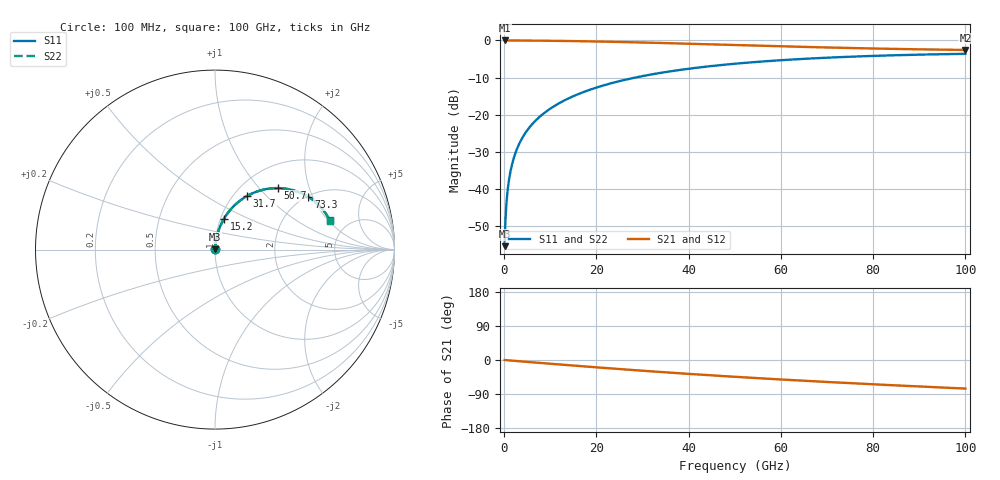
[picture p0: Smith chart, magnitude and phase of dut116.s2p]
! Touchstone file exported from HFSS 2026.1.0
!  File:  C:/ffzhzh/LocalFiles/Ansys_Project_Files/temp_train_RDL_116_1783499353_41296.aedt
!  Generated:  04:30:21 PM Jul  8, 2026
!  Design:  RDL
!  Project:  temp_train_RDL_116_1783499353_41296
! Variables:
!  h_bsmrdl = 2um
!  h_ox = 20um
!  h_rdl = 5um
!  h_sub = 80um
!  h_tmrdl = 4.95um
!  h_tsv = 80um
!  h_via = 3um
!  l_bsmrdl = 300um
!  l_sub = 612.99um
!  l_tmrdl = 212.99um
!  m_sub = 200um
!  pitch = 55.14um
!  r_tsv = 6um
!  s_tmrdl = 10um
!  w_bsmrdl = 18um
!  w_sub = 500um
!  w_tmrdl = 15.51um
!  x_tsv_center1 = 220.745um
!  x_tsv_center2 = 538.745um
!  x_tsv_center3 = 767.245um
!  x_tsv_center4 = 1085.245um
!  x_tsv_center5 = 1313.745um
!  x_tsv_center6 = 1631.745um
# GHz S MA R 50.000000
! Terminal data exported
! Port[1] = TM_RDL1_1_T1
! Port[2] = TM_RDL1_1_T2
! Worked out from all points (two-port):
!   1000 points, 100 MHz to 100 GHz, reference 50 ohm
!   highest |S21| = -0.01 dB at 100 MHz (marker M1); lowest = -2.6 dB at 100 GHz (marker M2)
!   |S21| within 3 dB of the highest: start of sweep to end of sweep
!   lowest |S11| = -55.4 dB at 100 MHz (marker M3), VSWR 1.00, Z = 50.1 + j0.13 ohm
!   |S11| at or under -10 dB: start of sweep to 28.4 GHz
!   |S22| runs from -55.4 to -3.6 dB; largest |S21 - S12| = 4.2e-15
!   S11 on the Smith chart (normalised r, x): 100 MHz: 1.00, +0.00; 15.2 GHz: 1.04, +0.37; 31.7 GHz: 1.15, +0.78; 50.7 GHz: 1.41, +1.27; 73.3 GHz: 2.03, +1.86; 100 GHz: 3.61, +2.08
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0.1  0.001706 49.7  0.9989 -0.1  0.9989 -0.1  0.001706 49.7
! Gamma 0 0 0 0
! Port Impedance 50 0 50 0
0.4  0.005243 76.3  0.9988 -0.4  0.9988 -0.4  0.005243 76.3
0.8  0.01017 82.0  0.9987 -0.8  0.9987 -0.8  0.01017 82.0
1  0.01265 83.0  0.9986 -1.0  0.9986 -1.0  0.01265 83.0
1.3  0.01638 83.9  0.9985 -1.3  0.9985 -1.3  0.01638 83.9
1.7  0.02135 84.4  0.9983 -1.7  0.9983 -1.7  0.02135 84.4
2.2  0.02754 84.5  0.9981 -2.2  0.9981 -2.2  0.02754 84.5
3.6  0.04475 83.9  0.997 -3.6  0.997 -3.6  0.04475 83.8
5.5  0.06774 82.3  0.9952 -5.5  0.9952 -5.5  0.06774 82.3
8  0.09744 80.2  0.992 -8.0  0.992 -8.0  0.09744 80.1
11.2  0.1347 77.3  0.987 -11.1  0.987 -11.1  0.1347 77.3
15.2  0.18 73.7  0.9792 -14.9  0.9792 -14.9  0.18 73.7
16.8  0.1976 72.3  0.9756 -16.4  0.9756 -16.4  0.1976 72.2
23.5  0.2683 66.3  0.9579 -22.6  0.9579 -22.6  0.2683 66.3
31.7  0.3466 59.3  0.9319 -29.8  0.9319 -29.8  0.3466 59.2
33.4  0.3616 57.8  0.9261 -31.2  0.9261 -31.2  0.3616 57.8
50.1  0.4863 44.9  0.867 -44.4  0.867 -44.4  0.4863 44.8
50.7  0.49 44.4  0.8649 -44.8  0.8649 -44.8  0.49 44.3
66.7  0.5724 33.5  0.8131 -55.9  0.8131 -55.9  0.5724 33.4
73.3  0.5978 29.4  0.7948 -60.0  0.7948 -60.0  0.5978 29.3
83.4  0.6283 23.4  0.7711 -66.1  0.7711 -66.1  0.6283 23.3
100  0.66 14.2  0.7444 -75.4  0.7444 -75.4  0.66 14.0
